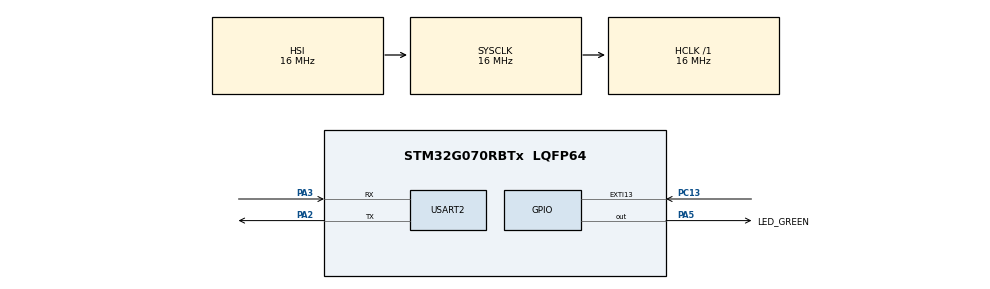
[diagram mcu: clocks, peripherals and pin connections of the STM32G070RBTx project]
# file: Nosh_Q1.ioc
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Mcu.Family=STM32G0
Mcu.Name=STM32G070RBTx
Mcu.Package=LQFP64
NVIC.TIM3_IRQn=true\:0\:0\:false\:false\:true\:true\:true\:true
PA13.GPIO_Label=TMS
PA13.Mode=Serial_Wire
PA13.Signal=SYS_SWDIO
PA14-BOOT0.GPIO_Label=TCK
PA14-BOOT0.Mode=Serial_Wire
PA14-BOOT0.Signal=SYS_SWCLK
PA2.GPIO_PuPd=GPIO_PULLUP
PA2.Mode=Asynchronous
PA2.Signal=USART2_TX
PA3.GPIO_PuPd=GPIO_PULLUP
PA3.Mode=Asynchronous
PA3.Signal=USART2_RX
PA5.GPIO_Label=LED_GREEN
PA5.GPIO_Speed=GPIO_SPEED_FREQ_HIGH
PA5.Signal=GPIO_Output
PC13.Signal=GPXTI13
PC14-OSC32_IN\ (PC14).Mode=LSE-External-Oscillator
PC14-OSC32_IN\ (PC14).Signal=RCC_OSC32_IN
PC15-OSC32_OUT\ (PC15).Mode=LSE-External-Oscillator
PC15-OSC32_OUT\ (PC15).Signal=RCC_OSC32_OUT
PF0-OSC_IN\ (PF0).GPIO_Label=MCO
PF0-OSC_IN\ (PF0).Mode=HSE-External-Clock-Source
PF0-OSC_IN\ (PF0).Signal=RCC_OSC_IN
ProjectManager.HeapSize=0x200
ProjectManager.StackSize=0x400
ProjectManager.TargetToolchain=STM32CubeIDE
RCC.AHBFreq_Value=16000000
RCC.CortexFreq_Value=16000000
RCC.EXTERNAL_CLOCK_VALUE=12288000
RCC.HCLKFreq_Value=16000000
RCC.HSE_VALUE=8000000
RCC.HSI_VALUE=16000000
RCC.SYSCLKFreq_VALUE=16000000
RCC.VCOOutputFreq_Value=128000000
TIM3.Period=249
TIM3.Prescaler=15999
USART2.VirtualMode-Asynchronous=VM_ASYNC
USART2.WordLength=WORDLENGTH_7B
VP_TIM3_VS_ClockSourceINT.Mode=Internal
board=NUCLEO-G070RB

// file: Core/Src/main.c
/* USER CODE BEGIN Header */
/**
  ******************************************************************************
  * @file           : main.c
  * @brief          : Main program body
  ******************************************************************************
  * @attention
  *
  * Copyright (c) 2026 STMicroelectronics.
  * All rights reserved.
  *
  * This software is licensed under terms that can be found in the LICENSE file
  * in the root directory of this software component.
  * If no LICENSE file comes with this software, it is provided AS-IS.
  *
  ******************************************************************************
  */
/* USER CODE END Header */
#include "main.h"

TIM_HandleTypeDef htim3;

UART_HandleTypeDef huart2;

/* USER CODE BEGIN PV */

// Counts the number of switch presses
volatile uint8_t pressCount = 0;

// Current blinking mode
// 0 = OFF
// 1 = 0.5 Hz
// 2 = 1 Hz
// 3 = 2 Hz
volatile uint8_t blinkMode = 0;

// Used to toggle LED
volatile uint8_t timerCount = 0;

/* USER CODE END PV */

void SystemClock_Config(void);
static void MX_GPIO_Init(void);
static void MX_TIM3_Init(void);
static void MX_USART2_UART_Init(void);

int main(void)
{

  /* MCU Configuration--------------------------------------------------------*/

  /* Reset of all peripherals, Initializes the Flash interface and the Systick. */
  HAL_Init();

  /* Configure the system clock */
  SystemClock_Config();

  /* Initialize all configured peripherals */
  MX_GPIO_Init();
  MX_TIM3_Init();
  MX_USART2_UART_Init();
  /* USER CODE BEGIN 2 */

  // Start Timer 3 in Interrupt Mode
  HAL_TIM_Base_Start_IT(&htim3);

  /* USER CODE END 2 */

  /* Infinite loop */
  while (1)
  {
	  HAL_PWR_EnterSLEEPMode(
	              PWR_MAINREGULATOR_ON,
	              PWR_SLEEPENTRY_WFI);
  }
}

void SystemClock_Config(void)
{
  RCC_OscInitTypeDef RCC_OscInitStruct = {0};
  RCC_ClkInitTypeDef RCC_ClkInitStruct = {0};

  /** Configure the main internal regulator output voltage
  */
  HAL_PWREx_ControlVoltageScaling(PWR_REGULATOR_VOLTAGE_SCALE1);

  /** Initializes the RCC Oscillators according to the specified parameters
  * in the RCC_OscInitTypeDef structure.
  */
  RCC_OscInitStruct.OscillatorType = RCC_OSCILLATORTYPE_HSI;
  RCC_OscInitStruct.HSIState = RCC_HSI_ON;
  RCC_OscInitStruct.HSIDiv = RCC_HSI_DIV1;
  RCC_OscInitStruct.HSICalibrationValue = RCC_HSICALIBRATION_DEFAULT;
  RCC_OscInitStruct.PLL.PLLState = RCC_PLL_NONE;
  if (HAL_RCC_OscConfig(&RCC_OscInitStruct) != HAL_OK)
  {
    Error_Handler();
  }

  /** Initializes the CPU, AHB and APB buses clocks
  */
  RCC_ClkInitStruct.ClockType = RCC_CLOCKTYPE_HCLK|RCC_CLOCKTYPE_SYSCLK
                              |RCC_CLOCKTYPE_PCLK1;
  RCC_ClkInitStruct.SYSCLKSource = RCC_SYSCLKSOURCE_HSI;
  RCC_ClkInitStruct.AHBCLKDivider = RCC_SYSCLK_DIV1;
  RCC_ClkInitStruct.APB1CLKDivider = RCC_HCLK_DIV1;

  if (HAL_RCC_ClockConfig(&RCC_ClkInitStruct, FLASH_LATENCY_0) != HAL_OK)
  {
    Error_Handler();
  }
}

static void MX_TIM3_Init(void)
{

  TIM_ClockConfigTypeDef sClockSourceConfig = {0};
  TIM_MasterConfigTypeDef sMasterConfig = {0};

  htim3.Instance = TIM3;
  htim3.Init.Prescaler = 15999;
  htim3.Init.CounterMode = TIM_COUNTERMODE_UP;
  htim3.Init.Period = 249;
  htim3.Init.ClockDivision = TIM_CLOCKDIVISION_DIV1;
  htim3.Init.AutoReloadPreload = TIM_AUTORELOAD_PRELOAD_DISABLE;
  if (HAL_TIM_Base_Init(&htim3) != HAL_OK)
  {
    Error_Handler();
  }
  sClockSourceConfig.ClockSource = TIM_CLOCKSOURCE_INTERNAL;
  if (HAL_TIM_ConfigClockSource(&htim3, &sClockSourceConfig) != HAL_OK)
  {
    Error_Handler();
  }
  sMasterConfig.MasterOutputTrigger = TIM_TRGO_RESET;
  sMasterConfig.MasterSlaveMode = TIM_MASTERSLAVEMODE_DISABLE;
  if (HAL_TIMEx_MasterConfigSynchronization(&htim3, &sMasterConfig) != HAL_OK)
  {
    Error_Handler();
  }
  /* USER CODE BEGIN TIM3_Init 2 */

  // Enable Timer 3 interrupt in NVIC
  HAL_NVIC_SetPriority(TIM3_IRQn, 0, 0);
  HAL_NVIC_EnableIRQ(TIM3_IRQn);

  /* USER CODE END TIM3_Init 2 */

}

static void MX_USART2_UART_Init(void)
{

  huart2.Instance = USART2;
  huart2.Init.BaudRate = 115200;
  huart2.Init.WordLength = UART_WORDLENGTH_7B;
  huart2.Init.StopBits = UART_STOPBITS_1;
  huart2.Init.Parity = UART_PARITY_NONE;
  huart2.Init.Mode = UART_MODE_TX_RX;
  huart2.Init.HwFlowCtl = UART_HWCONTROL_NONE;
  huart2.Init.OverSampling = UART_OVERSAMPLING_16;
  huart2.Init.OneBitSampling = UART_ONE_BIT_SAMPLE_DISABLE;
  huart2.Init.ClockPrescaler = UART_PRESCALER_DIV1;
  huart2.AdvancedInit.AdvFeatureInit = UART_ADVFEATURE_NO_INIT;
  if (HAL_UART_Init(&huart2) != HAL_OK)
  {
    Error_Handler();
  }
  if (HAL_UARTEx_SetTxFifoThreshold(&huart2, UART_TXFIFO_THRESHOLD_1_8) != HAL_OK)
  {
    Error_Handler();
  }
  if (HAL_UARTEx_SetRxFifoThreshold(&huart2, UART_RXFIFO_THRESHOLD_1_8) != HAL_OK)
  {
    Error_Handler();
  }
  if (HAL_UARTEx_DisableFifoMode(&huart2) != HAL_OK)
  {
    Error_Handler();
  }

}

static void MX_GPIO_Init(void)
{
  GPIO_InitTypeDef GPIO_InitStruct = {0};

  /* GPIO Ports Clock Enable */
  __HAL_RCC_GPIOC_CLK_ENABLE();
  __HAL_RCC_GPIOF_CLK_ENABLE();
  __HAL_RCC_GPIOA_CLK_ENABLE();

  /*Configure GPIO pin Output Level */
  HAL_GPIO_WritePin(LED_GREEN_GPIO_Port, LED_GREEN_Pin, GPIO_PIN_RESET);

  /*Configure GPIO pin : PC13 */
  GPIO_InitStruct.Pin = GPIO_PIN_13;
  GPIO_InitStruct.Mode = GPIO_MODE_IT_RISING;
  GPIO_InitStruct.Pull = GPIO_NOPULL;
  HAL_GPIO_Init(GPIOC, &GPIO_InitStruct);
  // Enable EXTI interrupt for PC13
  HAL_NVIC_SetPriority(EXTI4_15_IRQn, 0, 0);
  HAL_NVIC_EnableIRQ(EXTI4_15_IRQn);

  /*Configure GPIO pin : LED_GREEN_Pin */
  GPIO_InitStruct.Pin = LED_GREEN_Pin;
  GPIO_InitStruct.Mode = GPIO_MODE_OUTPUT_PP;
  GPIO_InitStruct.Pull = GPIO_NOPULL;
  GPIO_InitStruct.Speed = GPIO_SPEED_FREQ_HIGH;
  HAL_GPIO_Init(LED_GREEN_GPIO_Port, &GPIO_InitStruct);

}

/* USER CODE BEGIN 4 */

/*
 * Function: HAL_GPIO_EXTI_Rising_Callback
 *
 * Description:
 * Executes whenever the push button is pressed.
 * Changes the LED blinking mode.
 */

void HAL_GPIO_EXTI_Rising_Callback(uint16_t GPIO_Pin)
{
    if(GPIO_Pin == GPIO_PIN_13)
    {
        HAL_Delay(20);      // Debounce delay

        pressCount++;

        switch(pressCount)
        {
            case 1:
                blinkMode = 1;
                break;

            case 2:
                blinkMode = 2;
                break;

            case 3:
                blinkMode = 3;
                break;

            case 4:
                blinkMode = 0;

                HAL_GPIO_WritePin(
                        LED_GREEN_GPIO_Port,
                        LED_GREEN_Pin,
                        GPIO_PIN_RESET);

                break;

            default:

                pressCount = 1;
                blinkMode = 1;
                break;
        }
    }
}
/*
 * Function: HAL_TIM_PeriodElapsedCallback
 *
 * Description:
 * Called automatically whenever Timer 3 overflows.
 * Toggles LED according to selected blinking mode.
 */

void HAL_TIM_PeriodElapsedCallback(TIM_HandleTypeDef *htim)
{
    if(htim->Instance == TIM3)
    {
        switch(blinkMode)
        {
            case 1:     // 0.5 Hz

                timerCount++;

                if(timerCount >= 4)
                {
                    HAL_GPIO_TogglePin(
                            LED_GREEN_GPIO_Port,
                            LED_GREEN_Pin);

                    timerCount = 0;
                }

                break;

            case 2:     // 1 Hz

                timerCount++;

                if(timerCount >= 2)
                {
                    HAL_GPIO_TogglePin(
                            LED_GREEN_GPIO_Port,
                            LED_GREEN_Pin);

                    timerCount = 0;
                }

                break;

            case 3:     // 2 Hz

                HAL_GPIO_TogglePin(
                        LED_GREEN_GPIO_Port,
                        LED_GREEN_Pin);

                break;

            default:

                break;
        }
    }
}

/* USER CODE END 4 */
void Error_Handler(void)
{
  __disable_irq();
  while (1)
  {
  }
}
